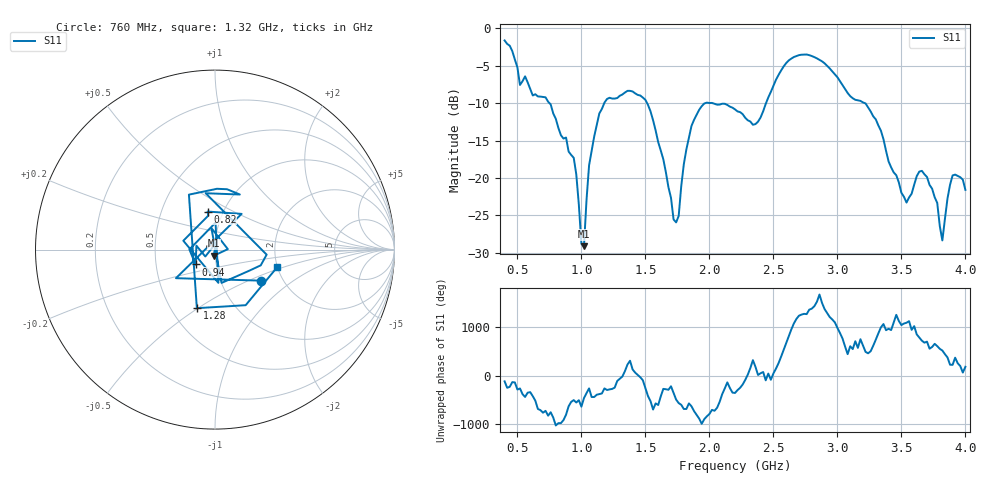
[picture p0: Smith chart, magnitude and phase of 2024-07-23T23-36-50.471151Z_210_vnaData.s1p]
!Created with skrf (http://scikit-rf.org).
# Hz S RI R 50.0
!freq ReS11 ImS11
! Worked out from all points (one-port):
!   181 points, 400 MHz to 4 GHz, reference 50 ohm
!   lowest |S11| = -29.1 dB at 1.02 GHz (marker M1), VSWR 1.07, Z = 49.2 - j3.38 ohm
!   |S11| at or under -10 dB: 750 MHz to 1.179 GHz (428.7 MHz wide, 44.5 % of centre); 1.513 GHz to 1.97 GHz (457 MHz wide, 26.2 % of centre); 3.213 GHz to end of sweep (the widest 3 of 4)
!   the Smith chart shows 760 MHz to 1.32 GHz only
!   S11 on the Smith chart (normalised r, x): 760 MHz: 1.55, -0.59; 820 MHz: 0.84, +0.38; 940 MHz: 0.79, -0.13; 1.28 GHz: 0.67, -0.49; 1.32 GHz: 2.00, -0.45
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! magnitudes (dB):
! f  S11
! 400 MHz  -1.6
! 520 MHz  -7.6
! 760 MHz  -10.2
! 820 MHz  -13.3
! 860 MHz  -14.7
! 940 MHz  -17.3
! 1 GHz  -28.8
! 1.02 GHz  -29.1
! 1.06 GHz  -18.3
! 1.14 GHz  -11.4
! 1.28 GHz  -9.3
! 1.3 GHz  -9.0
! 1.32 GHz  -8.9
! 1.52 GHz  -10.2
! 1.72 GHz  -25.5
! 1.76 GHz  -25.1
! 1.82 GHz  -16.2
! 1.92 GHz  -10.9
! 2.2 GHz  -10.8
! 2.36 GHz  -12.8
! 2.66 GHz  -3.9
! 3.1 GHz  -9.1
! 3.3 GHz  -12.2
! 3.56 GHz  -22.6
! 3.7 GHz  -19.9
! 3.82 GHz  -28.3
! 3.9 GHz  -19.7
! 4 GHz  -21.6
